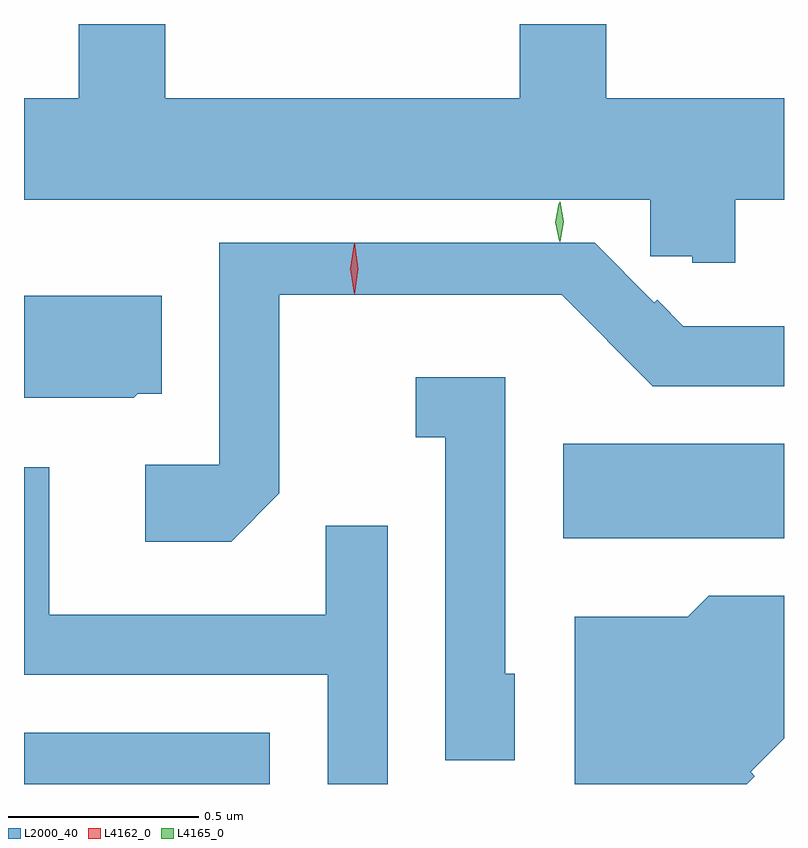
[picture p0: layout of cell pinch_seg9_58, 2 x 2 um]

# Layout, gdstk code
import gdstk
lib = gdstk.Library(unit=1e-6, precision=1e-09)
def R(c, l, rs):  # rectangles x0, y0, x1, y1
    for r in rs: c.add(gdstk.rectangle(r[:2], r[2:], *l))
def P(c, l, *ps):  # polygons
    for p in ps: c.add(gdstk.Polygon(p, *l))
L2000_40 = (2000, 40)
L4162_0 = (4162, 0)
L4165_0 = (4165, 0)

pinch_seg9_58 = lib.new_cell('pinch_seg9_58')
R(pinch_seg9_58, L2000_40, [(651.927,2021.359,652.574,2021.494), (653.346,2022.006,653.927,2022.254)])
P(pinch_seg9_58, L2000_40, [(653.799,2022.896),(653.927,2022.896),(653.927,2023.164),(653.459,2023.164),(653.459,2023.359),(653.231,2023.359),(653.231,2023.164),(652.299,2023.164),(652.299,2023.359),(652.071,2023.359),(652.071,2023.164),(651.927,2023.164),(651.927,2022.896),(653.575,2022.896),(653.575,2022.748),(653.685,2022.748),(653.685,2022.731),(653.799,2022.731)],
  [(652.599,2022.124),(652.599,2022.646),(653.342,2022.646),(653.582,2022.406),(653.927,2022.406),(653.927,2022.564),(653.662,2022.564),(653.593,2022.633),(653.586,2022.626),(653.429,2022.783),(652.441,2022.783),(652.441,2022.199),(652.246,2022.199),(652.246,2021.996),(652.472,2021.996)],
  [(652.226,2022.386),(652.289,2022.386),(652.289,2022.644),(651.927,2022.644),(651.927,2022.376),(652.216,2022.376)],
  [(653.219,2021.649),(653.194,2021.649),(653.194,2022.429),(652.958,2022.429),(652.958,2022.271),(653.036,2022.271),(653.036,2021.421),(653.219,2021.421)],
  [(652.884,2022.038),(652.721,2022.038),(652.721,2021.804),(651.994,2021.804),(651.994,2022.193),(651.927,2022.193),(651.927,2021.646),(652.726,2021.646),(652.726,2021.359),(652.884,2021.359)],
  [(653.85,2021.38),(653.84,2021.391),(653.927,2021.479),(653.927,2021.854),(653.729,2021.854),(653.674,2021.799),(653.376,2021.799),(653.376,2021.359),(653.829,2021.359)])
P(pinch_seg9_58, L4162_0, [(652.796,2022.651),(652.796,2022.651),(652.786,2022.715),(652.796,2022.78),(652.796,2022.78),(652.797,2022.78),(652.806,2022.715),(652.797,2022.651)],
  [(652.796,2022.647),(652.796,2022.648),(652.786,2022.715),(652.796,2022.783),(652.796,2022.784),(652.797,2022.783),(652.806,2022.715),(652.797,2022.648)])
P(pinch_seg9_58, L4165_0, [(653.337,2022.786),(653.328,2022.838),(653.337,2022.891),(653.337,2022.891),(653.338,2022.891),(653.348,2022.839),(653.338,2022.786),(653.338,2022.786)],
  [(653.335,2022.788),(653.335,2022.789),(653.325,2022.837),(653.334,2022.886),(653.335,2022.887),(653.336,2022.886),(653.345,2022.838),(653.336,2022.789)])

lib.write_gds('pinch_seg9_58.gds')
